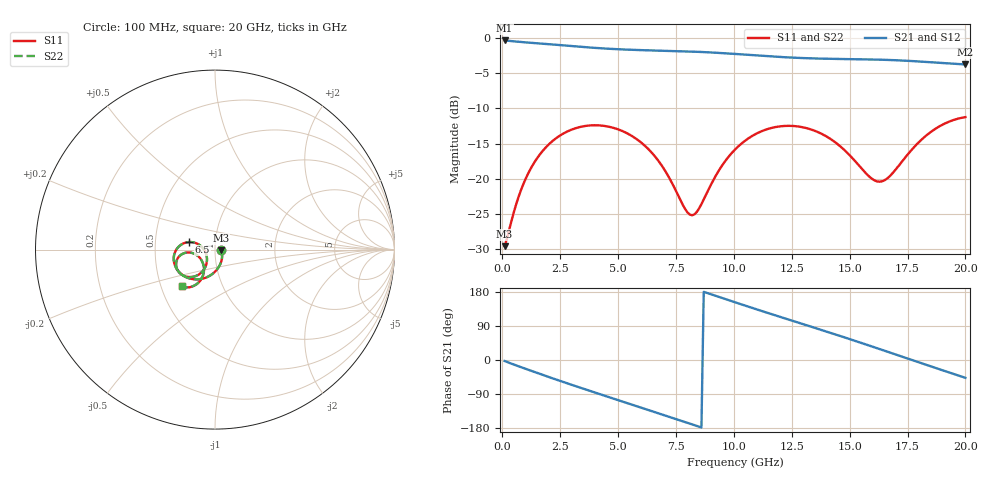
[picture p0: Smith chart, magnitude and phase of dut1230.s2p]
! Touchstone file exported from HFSS 2026.1.0
!  File:  C:/ffzhzh/LocalFiles/Ansys_Project_Files/temp_train_TSV_RDL_1230_1783322506_38820.aedt
!  Generated:  03:30:48 PM Jul  6, 2026
!  Design:  TSV_RDL
!  Project:  temp_train_TSV_RDL_1230_1783322506_38820
! Variables:
!  h_bsmrdl = 3.82um
!  h_ox = 20um
!  h_rdl = 5um
!  h_sub = 84.47um
!  h_tmrdl = 3.84um
!  h_tsv = 84.47um
!  h_via = 3um
!  l_bsmrdl = 762.62um
!  l_sub = 6507.68um
!  l_tmrdl = 928.6um
!  m_sub = 200um
!  pitch = 20.24um
!  r_tsv = 8.54um
!  s_tmrdl = 10um
!  w_bsmrdl = 16.24um
!  w_sub = 500um
!  w_tmrdl = 18.9um
!  x_tsv_center1 = 938.05um
!  x_tsv_center2 = 1716.91um
!  x_tsv_center3 = 2664.41um
!  x_tsv_center4 = 3443.27um
!  x_tsv_center5 = 4390.77um
!  x_tsv_center6 = 5169.63um
# GHz S MA R 50.000000
! Terminal data exported
! Port[1] = TM_RDL1_1_T1
! Port[2] = TM_RDL5_1_T1
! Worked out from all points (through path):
!   200 points, 100 MHz to 20 GHz, reference 50 ohm
!   highest |S21| = -0.29 dB at 100 MHz (marker M1); lowest = -3.7 dB at 20 GHz (marker M2)
!   group delay of S21, straight-line fit = 55.8 ps
!   lowest |S11| = -29.7 dB at 100 MHz (marker M3), VSWR 1.07, Z = 53.4 - j0.516 ohm
!   |S11| at or under -10 dB: start of sweep to end of sweep
!   |S22| runs from -29.7 to -11.2 dB; largest |S21 - S12| = 1.4e-14
!   S11 on the Smith chart (normalised r, x): 100 MHz: 1.07, -0.01; 6.5 GHz: 0.75, +0.06; 20 GHz: 0.64, -0.29
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0.1  0.03292 -8.4  0.9672 -2.6  0.9672 -2.6  0.03292 -8.4
! Gamma 0 0 0 0
! Port Impedance 50 0 50 0
0.8  0.08209 -67.4  0.9425 -18.7  0.9425 -18.7  0.08208 -67.4
1.4  0.1316 -93.9  0.9266 -31.8  0.9266 -31.8  0.1316 -93.9
2.5  0.2032 -125.5  0.8959 -55.2  0.8959 -55.2  0.2031 -125.5
3.5  0.236 -147.8  0.8682 -75.8  0.8682 -75.8  0.236 -147.8
4.2  0.2395 -161.5  0.8517 -89.8  0.8517 -89.8  0.2395 -161.5
5  0.2245 -175.7  0.8372 -105.7  0.8372 -105.7  0.2245 -175.7
6.5  0.15 163.7  0.8207 -135.4  0.8207 -135.4  0.15 163.6
6.8  0.1298 161.6  0.8183 -141.4  0.8183 -141.4  0.1298 161.6
7.9  0.06047 -179.0  0.8088 -163.8  0.8088 -163.8  0.06049 -179.1
8.2  0.05468 -158.4  0.8055 -169.9  0.8055 -169.9  0.05467 -158.5
8.5  0.06123 -138.1  0.8017 -176.1  0.8017 -176.1  0.06119 -138.2
9.1  0.09645 -120.3  0.7927 171.6  0.7927 171.6  0.09636 -120.3
10.1  0.1641 -122.8  0.774 151.3  0.774 151.3  0.164 -122.8
11  0.2103 -133.3  0.7556 133.3  0.7556 133.3  0.2101 -133.3
11.8  0.2331 -143.9  0.7406 117.7  0.7406 117.7  0.2329 -143.9
13.4  0.2222 -164.1  0.7202 86.7  0.7202 86.7  0.222 -164.0
15  0.1468 -173.9  0.712 55.2  0.712 55.2  0.147 -173.7
16.1  0.09658 -152.8  0.7069 32.9  0.7069 32.9  0.09717 -152.7
16.7  0.1027 -129.8  0.7021 20.5  0.7021 20.5  0.1034 -130.0
18.2  0.1958 -115.6  0.6815 -10.5  0.6815 -10.5  0.1961 -115.9
20  0.2745 -131.6  0.6524 -47.0  0.6524 -47.0  0.2743 -131.9
